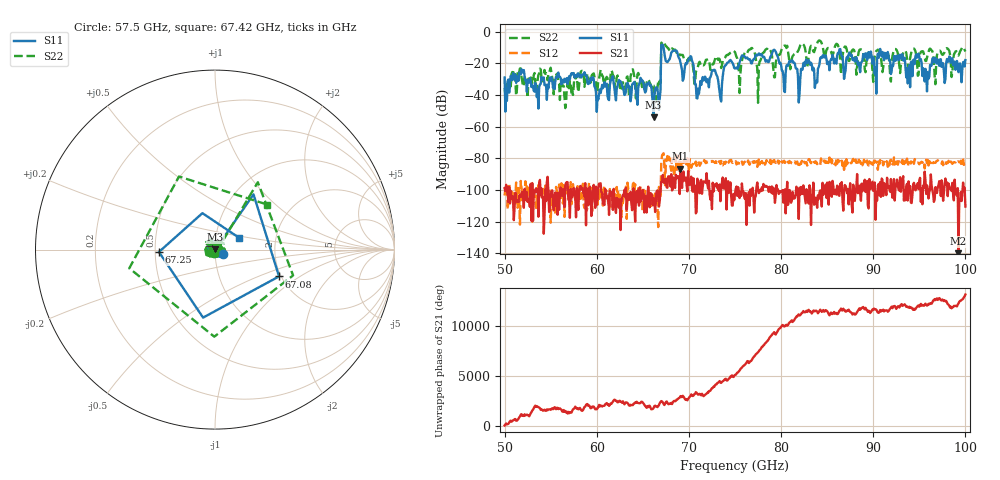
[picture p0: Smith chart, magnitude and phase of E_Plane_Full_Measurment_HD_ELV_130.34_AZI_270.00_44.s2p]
! 11/26/2026 3:38:29 PM
! C:\ANRITSUVNA\TEMP\TEMP.S2P
! CHANNEL.1
! TR.MEASUREMENT
! RAW.DATA
# HZ S RI R 50.0
! FREQ.HZ  S11RE  S11IM  S21RE  S21IM  S12RE  S12IM  S22RE  S22IM
!; PortSelection: Port_12
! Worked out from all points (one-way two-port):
!   601 points, 50 GHz to 100 GHz, reference 50 ohm
!   highest |S21| = -86.64 dB at 69.08 GHz (marker M1); lowest = -140.0 dB at 99.25 GHz (marker M2)
!   lowest |S11| = -54.0 dB at 66.17 GHz (marker M3), VSWR 1.00, Z = 50.1 + j0.145 ohm
!   |S11| at or under -10 dB: start of sweep to 67 GHz; 67.25 GHz to end of sweep
!   |S22| runs from -48.3 to -5.6 dB; largest |S21 - S12| = 0.00016
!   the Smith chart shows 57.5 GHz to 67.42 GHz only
!   S11 on the Smith chart (normalised r, x): 57.5 GHz: 1.09, -0.05; 67.08 GHz: 1.95, -0.68; 67.25 GHz: 0.52, -0.02; 67.42 GHz: 1.29, +0.18
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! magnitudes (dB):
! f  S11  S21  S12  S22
! 50 GHz  -29.0  -98.9  -103.5  -35.7
! 51.67 GHz  -26.3  -103.1  -121.9  -23.2
! 53.42 GHz  -34.8  -99.0  -111.4  -34.9
! 57.5 GHz  -26.1  -98.8  -100.3  -34.6
! 58.42 GHz  -27.1  -98.6  -104.2  -24.8
! 60.17 GHz  -42.8  -98.9  -99.6  -30.4
! 66.17 GHz  -54.0  -105.1  -107.2  -34.0
! 66.67 GHz  -41.5  -101.4  -123.5  -31.6
! 67.08 GHz  -8.3  -94.9  -78.3  -6.8
! 67.25 GHz  -10.1  -94.9  -76.9  -6.2
! 67.42 GHz  -16.6  -94.1  -97.1  -8.3
! 69.08 GHz  -19.5  -86.6  -81.3  -14.8
! 70.25 GHz  -15.9  -91.6  -85.9  -18.8
! 70.92 GHz  -42.2  -92.9  -82.2  -23.2
! 75 GHz  -23.3  -102.4  -82.3  -12.9
! 78.58 GHz  -19.2  -98.6  -83.1  -10.1
! 79.25 GHz  -11.5  -101.2  -81.1  -28.9
! 80.25 GHz  -27.8  -108.0  -82.1  -9.3
! 83.42 GHz  -24.5  -107.6  -82.2  -10.8
! 91.67 GHz  -16.7  -97.7  -83.2  -15.2
! 99.25 GHz  -25.6  -140.0  -82.0  -15.1
! 100 GHz  -17.9  -110.6  -82.1  -12.5
